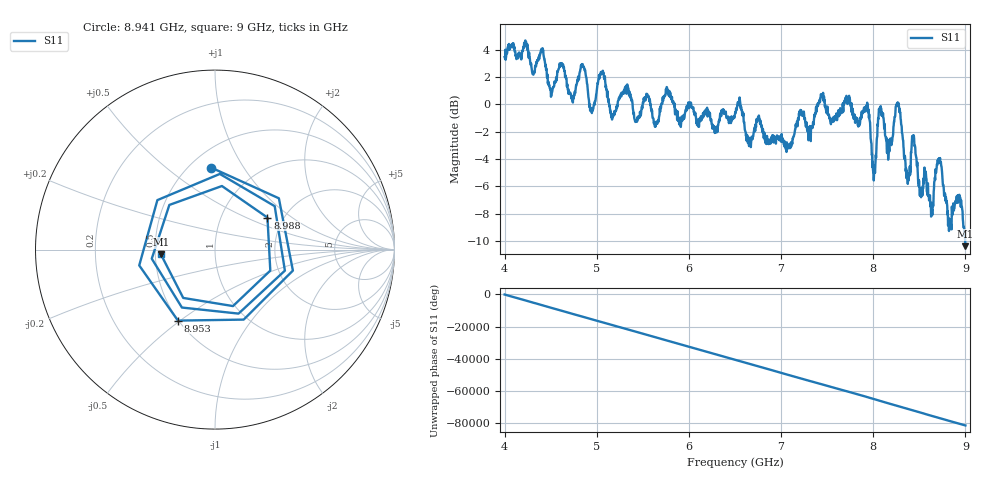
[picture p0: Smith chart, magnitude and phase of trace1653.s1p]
! Created with skrf 1.8.0 (http://scikit-rf.org).
# Hz S RI R 50.0
!freq ReS11 ImS11
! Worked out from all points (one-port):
!   1601 points, 4 GHz to 9 GHz, reference 50 ohm
!   lowest |S11| = -10.4 dB at 9 GHz (marker M1), VSWR 1.87, Z = 26.8 - j1.55 ohm
!   |S11| at or under -10 dB: 8.997907 GHz to end of sweep
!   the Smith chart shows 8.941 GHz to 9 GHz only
!   S11 on the Smith chart (normalised r, x): 8.941 GHz: 0.63, +0.73; 8.953 GHz: 0.50, -0.49; 8.988 GHz: 1.66, +0.67; 9 GHz: 0.54, -0.03
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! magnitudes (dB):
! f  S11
! 4 GHz  3.5
! 4.406 GHz  3.9
! 4.512 GHz  0.9
! 4.625 GHz  2.9
! 4.731 GHz  0.6
! 4.853 GHz  2.8
! 4.944 GHz  -0.5
! 5.05 GHz  2.2
! 5.162 GHz  -0.7
! 5.25 GHz  0.6
! 5.875 GHz  -0.5
! 6.5 GHz  -0.7
! 7.125 GHz  -2.5
! 7.75 GHz  0.0
! 7.938 GHz  0.0
! 8.009 GHz  -5.0
! 8.072 GHz  -0.3
! 8.172 GHz  -3.2
! 8.269 GHz  0.0
! 8.375 GHz  -5.8
! 8.438 GHz  -2.3
! 8.628 GHz  -8.2
! 8.716 GHz  -3.9
! 8.825 GHz  -8.7
! 8.941 GHz  -6.8
! 8.953 GHz  -7.0
! 8.988 GHz  -9.3
! 9 GHz  -10.4
